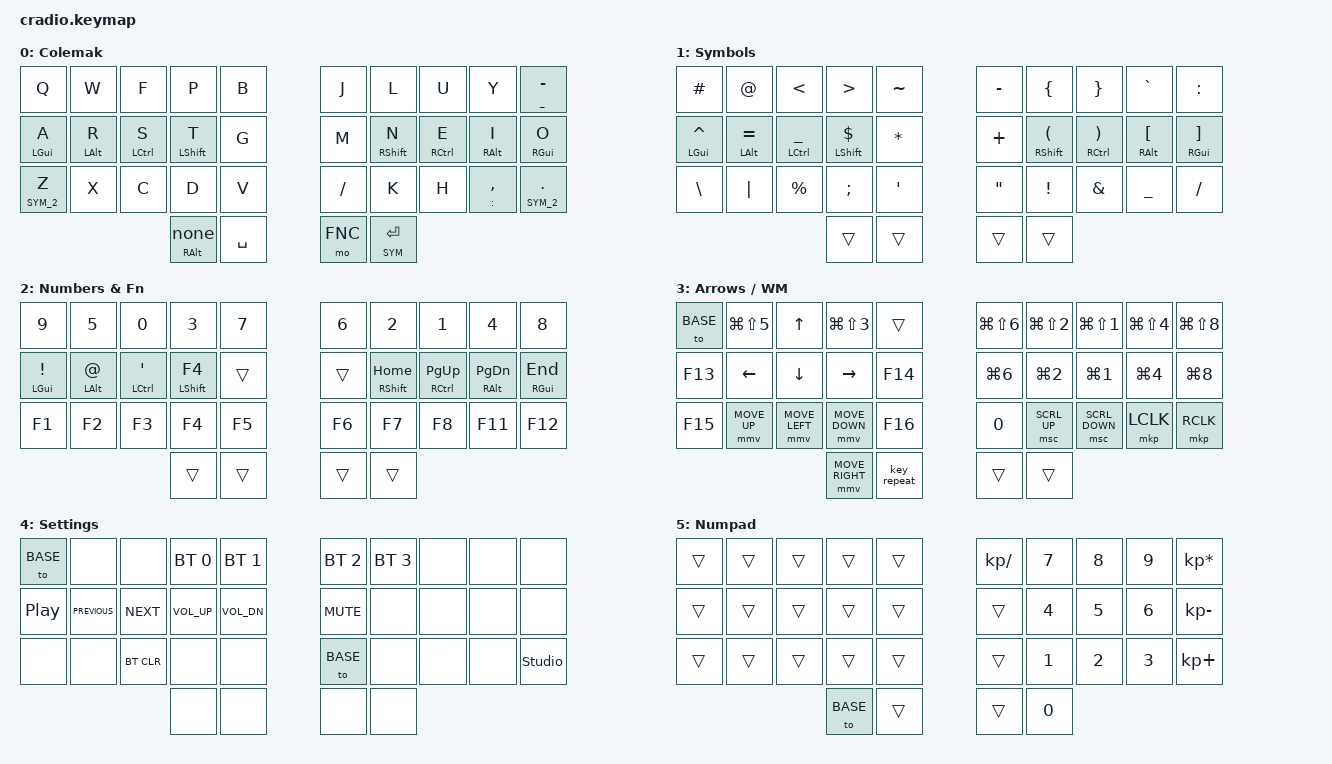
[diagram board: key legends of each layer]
/*
 * Copyright (c) 2020 The ZMK Contributors
 *
 * SPDX-License-Identifier: MIT
 */

#include <behaviors.dtsi>
#include <dt-bindings/zmk/bt.h>
#include <dt-bindings/zmk/keys.h>
#include <dt-bindings/zmk/pointing.h>

#define BASE   0
#define SYM    1
#define SYM_2  2
#define FNC    3
#define FNC_2  4
#define NUMPAD 5

// ZMK has no parent->child property inheritance: combos need timeout-ms and
// require-prior-idle-ms set per combo, otherwise they silently fall back to
// 50 ms / -1 (disabled) regardless of what the combos node says.
//
// combo_c: common variant (active on BASE..FNC).
#define ZMK_COMBO_C(n, b, kp, i) \
    n { bindings = <b>; key-positions = <kp>; layers = <BASE SYM SYM_2 FNC>; timeout-ms = <50>; require-prior-idle-ms = <i>; };

// combo_a: "everywhere" variant (all layers, for Escape-style combos).
#define ZMK_COMBO_A(n, b, kp, i) \
    n { bindings = <b>; key-positions = <kp>; layers = <BASE SYM SYM_2 FNC FNC_2 NUMPAD>; timeout-ms = <50>; require-prior-idle-ms = <i>; };

&mt {
    // &mt is only used for tap/tap pairs (COLON+COMMA, UNDER+MINUS) where
    // tap-preferred + a prior-idle guard would only delay the shifted side.
    // Tap/tap resolution never depends on prior idle, so no guard is needed.
    tapping-term-ms = <250>;
    flavor = "tap-preferred";
};

&lt {
    require-prior-idle-ms = <100>;
};

&sl {
    release-after-ms = <3000>;
};

/ {
    combos {
        compatible = "zmk,combos";

        // Destructive / high-risk combos get 150 ms idle, the rest 80 ms.
        // Idle guard: the combo key pair must be pressed after that much
        // typing silence, so fast rolls can't fire them accidentally.
        esc { bindings = <&kp ESCAPE>; key-positions = <0 1>; layers = <BASE SYM SYM_2 FNC FNC_2 NUMPAD>; timeout-ms = <50>; require-prior-idle-ms = <0>; };
        ZMK_COMBO_C(cut,            &kp LC(X),       21 22,  80)
        ZMK_COMBO_C(copy,           &kp LC(C),       22 23,  80)
        ZMK_COMBO_C(paste,          &kp LC(V),       23 24,  80)
        ZMK_COMBO_A(to_default,     &to BASE,        0 9,    80)
        alt_quotes {
            bindings = <&kp DOUBLE_QUOTES>;
            key-positions = <5 6>;
            layers = <BASE>;
            timeout-ms = <50>;
            require-prior-idle-ms = <80>;
        };
        numpad {
            bindings = <&to NUMPAD>;
            key-positions = <7 8 9>;
            layers = <BASE>;
            timeout-ms = <50>;
            require-prior-idle-ms = <80>;
        };
        ZMK_COMBO_C(backspace,      &kp BACKSPACE,   3 2,    150)
        ZMK_COMBO_C(delete,         &kp DELETE,      6 7,    150)
        settings {
            bindings = <&to FNC_2>;
            key-positions = <0 1 2>;
            layers = <BASE>;
            timeout-ms = <50>;
            require-prior-idle-ms = <80>;
        };
        improve_prompt {
            bindings = <&llm_prompt>;
            key-positions = <30 31>;
            layers = <BASE>;
            timeout-ms = <50>;
            require-prior-idle-ms = <150>;
        };
        ZMK_COMBO_C(alt_ret,        &kp RET,         14 13,  150)
        capsword {
            bindings = <&caps_word>;
            key-positions = <29 28>;
            layers = <BASE>;
            timeout-ms = <50>;
            require-prior-idle-ms = <80>;
        };
        ZMK_COMBO_C(alt_tab,        &kp TAB,         15 16,  80)
        ZMK_COMBO_A(studio_unlock,  &studio_unlock,  20 10 0, 80)
        sym_once {
            // Was &sk SYM: &sk is a sticky *key* and wraps &kp, so this
            // emitted HID keycode 1 instead of the SYM layer.
            bindings = <&sl SYM>;
            key-positions = <20 21>;
            layers = <BASE>;
            timeout-ms = <50>;
            require-prior-idle-ms = <80>;
        };
        ZMK_COMBO_C(undo,           &kp LC(Z),       24 25,  80)
        ZMK_COMBO_C(redo,           &kp LS(LC(Z)),   25 26,  80)
        // Word-deletion pair: F+W sits one column left of the backspace combo
        // (F+P), T+D is its left/right mirror on the home row.
        ZMK_COMBO_C(word_backspace, &kp LC(BACKSPACE), 1 2,  150)
        ZMK_COMBO_C(word_delete,    &kp LC(DELETE),  14 15,  150)
    };

    macros {
        llm_prompt: llm_prompt {
            compatible = "zmk,behavior-macro";
            #binding-cells = <0>;
            wait-ms = <30>;
            tap-ms = <30>;
            bindings
                = <&kp LS(RET)>
                , <&kp I &kp M &kp P &kp R &kp O &kp V &kp E>
                , <&kp SPACE>
                , <&kp T &kp H &kp I &kp S>
                , <&kp SPACE>
                , <&kp T &kp E &kp X &kp T>
                , <&kp SPACE>
                , <&kp A &kp N &kp D>
                , <&kp SPACE>
                , <&kp M &kp A &kp K &kp E>
                , <&kp SPACE>
                , <&kp I &kp T>
                , <&kp SPACE>
                , <&kp C &kp O &kp N &kp C &kp I &kp S &kp E>
                , <&kp LC(RET)>
                ;
        };
    };

    behaviors {
        hml: home_row_mod_left {
            compatible = "zmk,behavior-hold-tap";
            #binding-cells = <2>;
            flavor = "balanced";
            require-prior-idle-ms = <125>;
            tapping-term-ms = <250>;
            quick-tap-ms = <175>;
            bindings = <&kp>, <&kp>;
            hold-trigger-key-positions = <5 6 7 8 9 15 16 17 18 19 25 26 27 28 29 32 33>;
            hold-trigger-on-release;
            display-name = "Home Row Mod Left";
        };

        hmr: home_row_mod_right {
            compatible = "zmk,behavior-hold-tap";
            #binding-cells = <2>;
            flavor = "balanced";
            require-prior-idle-ms = <125>;
            tapping-term-ms = <250>;
            quick-tap-ms = <175>;
            bindings = <&kp>, <&kp>;
            hold-trigger-key-positions = <0 1 2 3 4 10 11 12 13 14 20 21 22 23 24 30 31>;
            hold-trigger-on-release;
            display-name = "Home Row Mod Right";
        };

        hmr_ralt: home_row_mod_right_ralt {
            compatible = "zmk,behavior-hold-tap";
            #binding-cells = <2>;
            flavor = "balanced";
            require-prior-idle-ms = <125>;
            tapping-term-ms = <250>;
            quick-tap-ms = <175>;
            bindings = <&kp>, <&kp>;
            // Left-hand keys + U(7)/O(19) on the same hand so AltGr+u/o
            // (ü/ö via the AHK script) can chord on the right hand.
            hold-trigger-key-positions = <0 1 2 3 4 10 11 12 13 14 20 21 22 23 24 30 31 7 19>;
            hold-trigger-on-release;
            display-name = "Home Row Mod Right AltGr";
        };

        // Thumb AltGr experiment: same timing as the home-row mods, but on the
        // left thumb (position 30, previously the redundant &mo SYM) so
        // home-row rolls can never leak an umlaut. The main SYM access stays
        // on the right thumb (&lt SYM RET). Tap does nothing (&none) — the key
        // is hold-only. Positional guard stays off: the thumb is deliberately
        // chorded with either hand — ö/ü are cross-hand, ä/ß are same-hand but
        // thumb vs pinky/ring rarely rolls.
        hm_altgr: home_row_mod_altgr_thumb {
            compatible = "zmk,behavior-hold-tap";
            #binding-cells = <2>;
            flavor = "balanced";
            require-prior-idle-ms = <125>;
            tapping-term-ms = <250>;
            quick-tap-ms = <175>;
            bindings = <&kp>, <&none>;
            hold-trigger-on-release;
            display-name = "AltGr Thumb (experiment)";
        };
    };

    keymap {
        compatible = "zmk,keymap";

        base_layer {
            display-name = "Colemak";
            bindings = <
&kp Q            &kp W           &kp F        &kp P             &kp B        &kp J      &kp L              &kp U        &kp Y            &mt UNDER MINUS
&hml LGUI A  &hml LALT R  &hml LCTRL S  &hml LSHFT T  &kp G        &kp M      &hmr RSHFT N  &hmr RCTRL E  &hmr_ralt RALT I  &hmr RGUI O
&lt SYM_2 Z          &kp X           &kp C        &kp D             &kp V        &kp SLASH  &kp K              &kp H        &mt COLON COMMA  &lt SYM_2 DOT
                                              &hm_altgr RALT 0    &kp SPACE    &mo FNC    &lt SYM RET
            >;
        };

        symbol {
            display-name = "Symbols";
            bindings = <
&kp HASH            &kp AT              &kp LESS_THAN         &kp GREATER_THAN       &kp TILDE           &kp MINUS  &kp LEFT_BRACE                    &kp RIGHT_BRACE              &kp GRAVE                   &kp COLON
&hml LGUI CARET  &hml LALT EQUAL  &hml LCTRL UNDERSCORE  &hml LSHFT DOLLAR  &kp ASTERISK        &kp PLUS   &hmr RSHFT LEFT_PARENTHESIS  &hmr RCTRL RIGHT_PARENTHESIS  &hmr RALT LEFT_BRACKET  &hmr RGUI RIGHT_BRACKET
&kp BACKSLASH       &kp PIPE            &kp PRCNT             &kp SEMI               &kp SINGLE_QUOTE    &kp DQT    &kp EXCL                          &kp AMPS                     &kp UNDER                   &kp SLASH
                                                              &trans                 &trans              &trans     &trans
            >;
        };

        number-and-fn {
            display-name = "Numbers & Fn";
            bindings = <
&kp N9             &kp N5       &kp N0         &kp NUMBER_3       &kp N7    &kp N6  &kp NUMBER_2          &kp NUMBER_1       &kp NUMBER_4             &kp N8
&hml LGUI EXCL  &hml LALT AT  &hml LCTRL SQT  &hml LSHFT F4  &trans    &trans  &hmr RSHFT HOME  &hmr RCTRL PAGE_UP  &hmr RALT PAGE_DOWN  &hmr RGUI END
&kp F1             &kp F2       &kp F3         &kp F4             &kp F5    &kp F6  &kp F7                &kp F8             &kp F11                  &kp F12
                                               &trans             &trans    &trans  &trans
            >;
        };

        arrows_wm {
            display-name = "Arrows / WM";
            bindings = <
&to BASE      &kp LG(LS(N5))  &kp UP_ARROW  &kp LG(LS(NUMBER_3))  &trans         &kp LG(LS(NUMBER_6))  &kp LG(LS(NUMBER_2))  &kp LG(LS(NUMBER_1))  &kp LG(LS(NUMBER_4))  &kp LG(LS(N8))
&kp F13  &kp LEFT        &kp DOWN      &kp RIGHT             &kp F14        &kp LG(NUMBER_6)      &kp LG(NUMBER_2)      &kp LG(NUMBER_1)      &kp LG(NUMBER_4)      &kp LG(N8)
&kp F15  &mmv MOVE_UP     &mmv MOVE_LEFT  &mmv MOVE_DOWN       &kp F16        &kp N0                &msc SCRL_UP          &msc SCRL_DOWN        &mkp LCLK            &mkp RCLK
                                       &mmv MOVE_RIGHT &key_repeat    &trans                &trans
            >;
        };

        settings {
            display-name = "Settings";
            bindings = <
&to BASE  &none  &none       &bt BT_SEL 0  &bt BT_SEL 1    &bt BT_SEL 2  &bt BT_SEL 3  &none  &none  &none
&kp C_PLAY_PAUSE  &kp C_PREVIOUS  &kp C_NEXT  &kp C_VOL_UP  &kp C_VOL_DN  &kp C_MUTE  &none  &none  &none  &none
&none  &none  &bt BT_CLR  &none         &none         &to BASE         &none         &none  &none  &studio_unlock
                          &none         &none           &none         &none
            >;
        };

        numpad {
            display-name = "Numpad";
            bindings = <
&trans  &trans  &trans  &trans  &trans    &kp KP_DIVIDE  &kp N7  &kp N8  &kp N9  &kp KP_MULTIPLY
&trans  &trans  &trans  &trans  &trans    &trans         &kp N4  &kp N5  &kp N6  &kp KP_MINUS
&trans  &trans  &trans  &trans  &trans    &trans         &kp N1  &kp N2  &kp N3  &kp KP_PLUS
                        &to BASE    &trans    &trans         &kp N0
            >;
        };
    };
};
